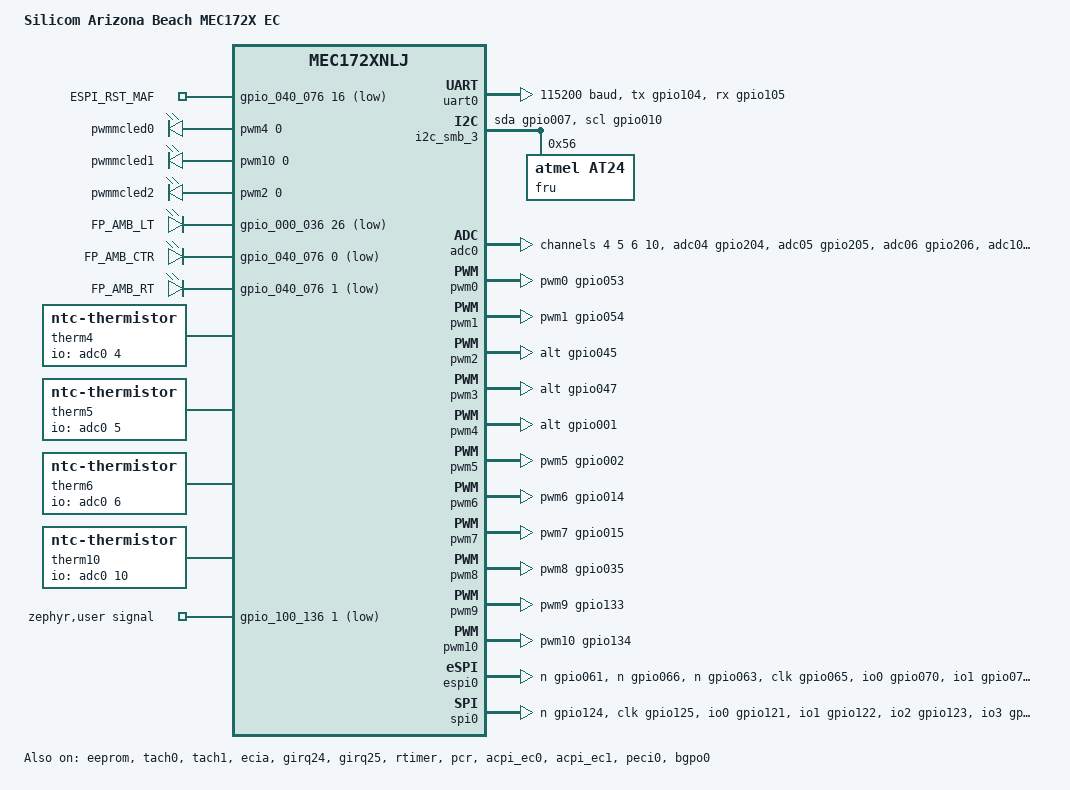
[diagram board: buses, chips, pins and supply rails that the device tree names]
/*
 * Copyright (c) 2022, Silicom Connectivity Solutions
 *
 * SPDX-License-Identifier: Apache-2.0
 */

/dts-v1/;

#include <microchip/mec172xnlj.dtsi>
#include <microchip/mec172x/mec172xnsz-pinctrl.dtsi> 
#include <microchip/mec172x/mec172xnlj-pinctrl.dtsi>
#include <zephyr/dt-bindings/pwm/pwm.h>
#include <zephyr/dt-bindings/reset/mec172x_reset.h>
#include <zephyr/dt-bindings/led/led.h>

/ {
	model = "Silicom Arizona Beach MEC172X EC";
	compatible = "microchip,mec172x_azbeach", "microchip,mec172xnlj";

	chosen {
		zephyr,sram = &sram0;
		zephyr,flash = &flash0;
		zephyr,console = &uart0;
	};

	aliases {
		i2c0 = &i2c_smb_0;
		i2c-0 = &i2c_smb_0;
		i2c3 = &i2c_smb_1;
		i2c11 = &i2c_smb_2;
		pwm-0 = &pwm0;
		peci-0 = &peci0;
		led-1 = &pwmmcled0;
		eeprom0 = &eeprom;
	};

	gpio_keys {
		compatible = "gpio-keys";

		/* make a DT entry for the ESPI_RESET# input */
		espi_rst_maf: espi-rst {
			gpios = <&gpio_040_076 16 GPIO_ACTIVE_LOW>;
			label = "ESPI_RST_MAF";
		};
	};

	pwm_mc_leds: pwm_mc_leds {
		compatible = "pwm-leds-multicolor";

		pwmmcled0: pwmmcled-0 {
			pwms = <&pwm4 0 PWM_MSEC(5) PWM_POLARITY_INVERTED>,
		       	       <&pwm5 0 PWM_MSEC(5) PWM_POLARITY_INVERTED>,
		       	       <&pwm6 0 PWM_MSEC(5) PWM_POLARITY_INVERTED>;

			color-mapping = <LED_COLOR_ID_RED>,
					<LED_COLOR_ID_GREEN>,
					<LED_COLOR_ID_BLUE>;
		};
		pwmmcled1: pwmmcled-1 {
			pwms = <&pwm10 0 PWM_MSEC(5) PWM_POLARITY_INVERTED>,
		       	       <&pwm7  0 PWM_MSEC(5) PWM_POLARITY_INVERTED>,
		       	       <&pwm8  0 PWM_MSEC(5) PWM_POLARITY_INVERTED>;

			color-mapping = <LED_COLOR_ID_RED>,
					<LED_COLOR_ID_GREEN>,
					<LED_COLOR_ID_BLUE>;
		};
		pwmmcled2: pwmmcled-2 {
			pwms = <&pwm2 0 PWM_MSEC(5) PWM_POLARITY_INVERTED>,
		       	       <&pwm9 0 PWM_MSEC(5) PWM_POLARITY_INVERTED>,
		       	       <&pwm3 0 PWM_MSEC(5) PWM_POLARITY_INVERTED>;

			color-mapping = <LED_COLOR_ID_RED>,
					<LED_COLOR_ID_GREEN>,
					<LED_COLOR_ID_BLUE>;
		};
	};

	gpioled0: gpioled-0 {
		compatible = "gpio-leds";
		gpio_led0: led-0 {
			/* GPIO032/KSI7/GPTP_OUT0/UART0_RI# */
			gpios = <&gpio_000_036 26 GPIO_ACTIVE_LOW>;
			label = "FP_AMB_LT";
		};
	};
	gpioled1: gpioled-1 {
		compatible = "gpio-leds";
		gpio_led1: led-1 {
			/* GPIO040/GPTP_OUT2/KSO00 */
			gpios = <&gpio_040_076 0 GPIO_ACTIVE_LOW>;
			label = "FP_AMB_CTR";
		};
	};
	gpioled2: gpioled-2 {
		compatible = "gpio-leds";
		gpio_led2: led-2 {
			/* GPIO041 */
			gpios = <&gpio_040_076 1 GPIO_ACTIVE_LOW>;
			label = "FP_AMB_RT";
		};
	};
	bgpo0: bgpo@4000ac9c {
		compatible = "microchip,xec-bgpo";
		reg = < 0x4000ac9c 0xc >;
		status = "okay";
		gpio-controller;
		#gpio-cells = <2>;
//		ngpios = <6>;
	};


	therm4: thermistor-4 {
		compatible = "ntc-thermistor";
		io-channels = <&adc0 4>;
		rnominal = <10000>;
		tnominal = <25>;
		rpullup = <3300>;
		b-const = <3455>;
	};
	therm5: thermistor-5 {
		compatible = "ntc-thermistor";
		io-channels = <&adc0 5>;
		rnominal = <10000>;
		tnominal = <25>;
		rpullup = <3300>;
		b-const = <3455>;
	};
	therm6: thermistor-6 {
		compatible = "ntc-thermistor";
		io-channels = <&adc0 6>;
		rnominal = <10000>;
		tnominal = <25>;
		rpullup = <3300>;
		b-const = <3455>;
	};
	therm10: thermistor-10 {
		compatible = "ntc-thermistor";
		io-channels = <&adc0 10>;
		rnominal = <10000>;
		tnominal = <25>;
		rpullup = <3300>;
		b-const = <3455>;
	};

	zephyr,user {
		signal-gpios = <&gpio_100_136 1 GPIO_ACTIVE_LOW>;
		pinctrl-0 = <&gpio101 &gpio102 &gpio172 &gpio173>;
		pinctrl-names = "default";
	};

};

&cpu0 {
	clock-frequency = <96000000>;
	status = "okay";
};

&uart0 {
	status = "okay";
	current-speed = <115200>;
	pinctrl-0 = <&uart0_tx_gpio104 &uart0_rx_gpio105>;
	pinctrl-names = "default";
};

&eeprom {
	status = "okay";

	pinctrl-0 = <&eeprom_cs_gpio116
		     &eeprom_clk_gpio117
		     &eeprom_mosi_gpio074
		     &eeprom_miso_gpio075>;
	pinctrl-names = "default";
};

&i2c_smb_3 {
	status = "okay";
	label = "I2C3";
	port_sel = <3>;

	pinctrl-0 = <&i2c03_sda_gpio007
                     &i2c03_scl_gpio010>;
	pinctrl-names = "default";

	fru: dev@56 {
		compatible = "atmel,at24";
		status = "okay";
		reg = <0x56>;
		size = <2048>;
		address-width = <8>;
		timeout = <25>;
		pagesize = <32>;
	};

	spd: dev@54 {
		compatible = "atmel,at24";
		status = "disabled";
		reg = <0x54>;
		size = <2048>;
		address-width = <8>;
		timeout = <25>;
		pagesize = <16>;
	};
};

&i2c03_sda_gpio007 {
	drive-open-drain;
	output-high;
};

&i2c03_scl_gpio010 {
	drive-open-drain;
	output-high;
};

&adc0 {
	status = "okay";
	pinctrl-0 = <&adc04_gpio204 &adc05_gpio205
		     &adc06_gpio206 &adc10_gpio212>;
	pinctrl-names = "default";

	#address-cells = <1>;
	#size-cells = <0>;

	channel@4 {
		reg = <4>;
		zephyr,gain = "ADC_GAIN_1";
		zephyr,reference = "ADC_REF_INTERNAL";
		zephyr,acquisition-time = <0>;
		zephyr,resolution = <10>;
	};

	channel@5 {
		reg = <5>;
		zephyr,gain = "ADC_GAIN_1";
		zephyr,reference = "ADC_REF_INTERNAL";
		zephyr,acquisition-time = <0>;
		zephyr,resolution = <10>;
	};

	channel@6 {
		reg = <6>;
		zephyr,gain = "ADC_GAIN_1";
		zephyr,reference = "ADC_REF_INTERNAL";
		zephyr,acquisition-time = <0>;
		zephyr,resolution = <10>;
	};

	channel@a {
		reg = <10>;
		zephyr,gain = "ADC_GAIN_1";
		zephyr,reference = "ADC_REF_INTERNAL";
		zephyr,acquisition-time = <0>;
		zephyr,resolution = <10>;
	};
};

&pwm0 {
	status = "okay";
	pinctrl-0 = <&pwm0_gpio053>;
	pinctrl-names = "default";
};

&pwm1 {
	status = "okay";
	pinctrl-0 = <&pwm1_gpio054>;
	pinctrl-names = "default";
};

&pwm2 {
	status = "okay";
	pinctrl-0 = <&pwm2_alt_gpio045>;
	pinctrl-names = "default";
};

&pwm3 {
	status = "okay";
	pinctrl-0 = <&pwm3_alt_gpio047>;
	pinctrl-names = "default";
};

&pwm4 {
	status = "okay";
	pinctrl-0 = <&pwm4_alt_gpio001>;
	pinctrl-names = "default";
};

&pwm5 {
	status = "okay";
	pinctrl-0 = <&pwm5_gpio002>;
	pinctrl-names = "default";
};

&pwm6 {
	status = "okay";
	pinctrl-0 = <&pwm6_gpio014>;
	pinctrl-names = "default";
};

&pwm7 {
	status = "okay";
	pinctrl-0 = <&pwm7_gpio015>;
	pinctrl-names = "default";
};

&pwm8 {
	status = "okay";
	pinctrl-0 = <&pwm8_gpio035>;
	pinctrl-names = "default";
};

&pwm9 {
	status = "okay";
	pinctrl-0 = <&pwm9_gpio133>;
	pinctrl-names = "default";
};

&pwm10 {
	status = "okay";
	pinctrl-0 = <&pwm10_gpio134>;
	pinctrl-names = "default";
};

&tach0 {
	status = "okay";
	pinctrl-0 = <&tach0_gpio050>;
	pinctrl-names = "default";
};

&tach1 {
	status = "okay";
	pinctrl-0 = <&tach1_gpio051>;
	pinctrl-names = "default";
};

/* Initialize ECIA. Does not initialize child devices */
&ecia {
	status = "okay";
};

/* Enable aggregated GIRQ24 and GIRQ25 for eSPI virtual wires interrupts */
&girq24 {
	status = "okay";
};

&girq25 {
	status = "okay";
};

&rtimer {
	status = "okay";
};

&pcr {
	status = "okay";
};

&espi0 {
	status = "okay";
	pinctrl-0 = < &espi_reset_n_gpio061 &espi_cs_n_gpio066
		      &espi_alert_n_gpio063 &espi_clk_gpio065
		      &espi_io0_gpio070 &espi_io1_gpio071
		      &espi_io2_gpio072 &espi_io3_gpio073 >;
	pinctrl-names = "default";
};

&spi0 {
	status = "okay";
	pinctrl-0 = < &pvt_cs_n_gpio124
		      &pvt_clk_gpio125
		      &pvt_io0_gpio121
		      &pvt_io1_gpio122
		      &pvt_io2_gpio123
		      &pvt_io3_gpio126 >;

	pinctrl-names = "default";
};

&acpi_ec0 {
	status = "okay";
};

&acpi_ec1 {
	status = "okay";
};

&peci0 {
	status = "okay";
	pinctrl-0 = <&peci_dat_gpio042>;
	pinctrl-names = "default";
};

&pinctrl {
	gpio101: gpio101 {
		pinmux = < MCHP_XEC_PINMUX(0101, MCHP_AF0) >;
	};
	gpio102: gpio102 {
		pinmux = < MCHP_XEC_PINMUX(0102, MCHP_AF0) >;
	};
	gpio172: gpio172 {
		pinmux = < MCHP_XEC_PINMUX(0172, MCHP_AF0) >;
	};
	gpio173: gpio173 {
		pinmux = < MCHP_XEC_PINMUX(0173, MCHP_AF0) >;
	};
};

&bgpo0 {
	pinctrl-0 = <&gpio101 &gpio102 &gpio172 &gpio173>;
	pinctrl-names = "default";
};

